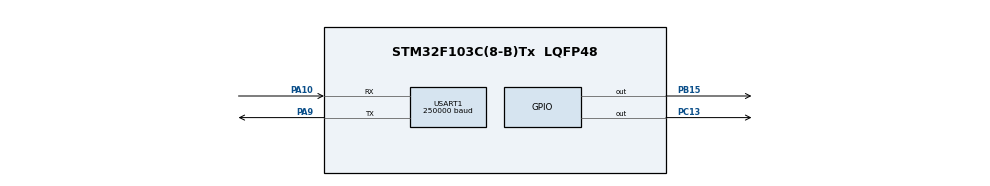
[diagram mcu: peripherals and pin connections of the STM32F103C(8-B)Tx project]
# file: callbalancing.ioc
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Mcu.Family=STM32F1
Mcu.Name=STM32F103C(8-B)Tx
Mcu.Package=LQFP48
NVIC.PriorityGroup=NVIC_PRIORITYGROUP_4
NVIC.USART1_IRQn=true\:0\:0\:false\:false\:true\:true\:true
PA10.Mode=Asynchronous
PA10.Signal=USART1_RX
PA13.Mode=Serial_Wire
PA13.Signal=SYS_JTMS-SWDIO
PA14.Mode=Serial_Wire
PA14.Signal=SYS_JTCK-SWCLK
PA9.Mode=Asynchronous
PA9.Signal=USART1_TX
PB15.Signal=GPIO_Output
PC13-TAMPER-RTC.Signal=GPIO_Output
ProjectManager.HeapSize=0x200
ProjectManager.StackSize=0x400
ProjectManager.TargetToolchain=MDK-ARM V5.27
RCC.APB1Freq_Value=8000000
RCC.APB2Freq_Value=8000000
RCC.USBFreq_Value=8000000
USART1.BaudRate=250000
USART1.VirtualMode=VM_ASYNC
board=custom

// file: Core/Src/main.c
/* USER CODE BEGIN Header */
/**
  ******************************************************************************
  * @title          : Passive Cell Balancing
  * @file           : main.c
  * @brief          : Main program body
  * @author         : Amrathesh and Shyamanth RH
  * @date           : 13/12/2020
  * @description    : This code communicates with bq76pl55a IC. This was the day we had a major breakthrough in our project on cell balancing
  * 		      We could finally communicate with bq76pl55a battery monitoring IC
  ******************************************************************************
  * @attention
  *
  * <h2><center>&copy; Copyright (c) 2020 STMicroelectronics.
  * All rights reserved.</center></h2>
  *
  * This software component is licensed by ST under BSD 3-Clause license,
  * the "License"; You may not use this file except in compliance with the
  * License. You may obtain a copy of the License at:
  *                        opensource.org/licenses/BSD-3-Clause
  *
  ******************************************************************************
  */
/* USER CODE END Header */
#include "main.h"
#include "usart.h"
#include "gpio.h"

/* USER CODE BEGIN Includes */
#include "pl455.h"

/* USER CODE END Includes */

/* USER CODE BEGIN PD */
#define NOC 6 //Number of cells
#define MASK (~(0xFFFF << NOC)) //mask off unused cells
/* USER CODE END PD */

void SystemClock_Config(void);

int main(void)
{

  /* MCU Configuration--------------------------------------------------------*/

  /* Reset of all peripherals, Initializes the Flash interface and the Systick. */
  HAL_Init();

  /* Configure the system clock */
  SystemClock_Config();

  /* Initialize all configured peripherals */
  MX_GPIO_Init();
  MX_USART1_UART_Init();
  /* USER CODE BEGIN 2 */

  BYTE bFrame[132];

  float volt[NOC];
	volatile float maxCellVoltage = 0;
	volatile float minCellVoltage = 0;
  volatile int minCellIdx = 0;
	volatile int maxCellIdx = 0;
  volatile uint16_t balance_en = 0x0000;

  powerDown();
  WakePL455();

  WriteReg(0, 107, 0x8000, 2, FRMWRT_SGL_NR); // Mask Customer Checksum Fault bit

  // Clear all faults
  WriteReg(0, 82, 0xFFC0, 2, FRMWRT_SGL_NR);  // clear all fault summary flags
  WriteReg(0, 81, 0x38, 1, FRMWRT_SGL_NR);    // clear fault flags in the system status register //comm clear and reset

  //Using Default addr i.e 0

  delayms(10);

  // Configure AFE to fastest setting
  WriteReg(0, 61, 0x00, 1, FRMWRT_ALL_NR); // set 0 initial delay

  // Configure cell voltage and internal temp sample period
  WriteReg(0, 62, 0x04, 1, FRMWRT_ALL_NR); // set 4.13us cell and 12.6us temp ADC sample period

  // Configure the oversampling rate
  WriteReg(0, 7, 0x00, 1, FRMWRT_ALL_NR); // set 0 oversampling means no oversampling

  WriteReg(0, 81, 0x38, 1, FRMWRT_SGL_NR); // clear fault flags in the system status register
  WriteReg(0, 82, 0xFFC0, 2, FRMWRT_SGL_NR); // clear all fault summary flags

  // Select number of cells and channels to sample
  WriteReg(0, 13, 0x06, 1, FRMWRT_SGL_NR); // set number of cells to 6

  WriteReg(0, 3, 0x003F0000, 4, FRMWRT_SGL_NR); // select 7 cell

  // Set cell over-voltage and cell under-voltage thresholds on a single board
  WriteReg(0, 144, 0xD70A, 2, FRMWRT_SGL_NR); // set OV threshold = 4.2000V
  WriteReg(0, 142, 0x8CCD, 2, FRMWRT_SGL_NR); // set UV threshold = 2.75000V

  HAL_Delay(1000);

  /* USER CODE END 2 */

  /* Infinite loop */
  /* USER CODE BEGIN WHILE */
  while (1){

		HAL_Delay(5000);
		WriteReg(0, 2, 0x01, 1, FRMWRT_SGL_R); // send sync sample command
		ReadResp(bFrame,15); //pkt header + 6 cell voltages + CRC

		HAL_Delay(1000);

		getcellVoltages(bFrame,NOC,volt);

		minCellIdx = findminimum(volt,NOC);
		maxCellIdx = findmaximum(volt,NOC);

		minCellVoltage = volt[minCellIdx - 1];
		maxCellVoltage = volt[maxCellIdx - 1];

	  if(maxCellVoltage - minCellVoltage > 0.01)
			balance_en =  MASK & ~(1<<(minCellIdx-1));
	  else
			balance_en = 0x0000;

    //balance_en=0xFFFF;
    WriteReg(0,19,8,1,FRMWRT_SGL_NR); // Continue balance on fault
    WriteReg(0,20,balance_en,2,FRMWRT_SGL_NR); // balance on for the cell with minimum voltage

    /* USER CODE END WHILE */

  }
}

void SystemClock_Config(void)
{
  RCC_OscInitTypeDef RCC_OscInitStruct = {0};
  RCC_ClkInitTypeDef RCC_ClkInitStruct = {0};

  /** Initializes the RCC Oscillators according to the specified parameters
  * in the RCC_OscInitTypeDef structure.
  */
  RCC_OscInitStruct.OscillatorType = RCC_OSCILLATORTYPE_HSI;
  RCC_OscInitStruct.HSIState = RCC_HSI_ON;
  RCC_OscInitStruct.HSICalibrationValue = RCC_HSICALIBRATION_DEFAULT;
  RCC_OscInitStruct.PLL.PLLState = RCC_PLL_NONE;
  if (HAL_RCC_OscConfig(&RCC_OscInitStruct) != HAL_OK)
  {
    Error_Handler();
  }
  /** Initializes the CPU, AHB and APB buses clocks
  */
  RCC_ClkInitStruct.ClockType = RCC_CLOCKTYPE_HCLK|RCC_CLOCKTYPE_SYSCLK
                              |RCC_CLOCKTYPE_PCLK1|RCC_CLOCKTYPE_PCLK2;
  RCC_ClkInitStruct.SYSCLKSource = RCC_SYSCLKSOURCE_HSI;
  RCC_ClkInitStruct.AHBCLKDivider = RCC_SYSCLK_DIV1;
  RCC_ClkInitStruct.APB1CLKDivider = RCC_HCLK_DIV1;
  RCC_ClkInitStruct.APB2CLKDivider = RCC_HCLK_DIV1;

  if (HAL_RCC_ClockConfig(&RCC_ClkInitStruct, FLASH_LATENCY_0) != HAL_OK)
  {
    Error_Handler();
  }
}

void Error_Handler(void)
{
}

/************************ (C) COPYRIGHT STMicroelectronics *****END OF FILE****/
